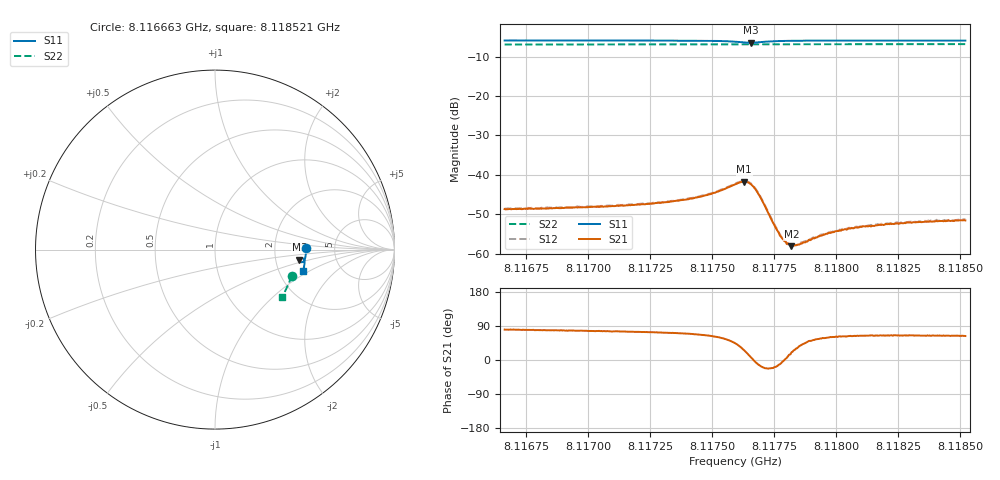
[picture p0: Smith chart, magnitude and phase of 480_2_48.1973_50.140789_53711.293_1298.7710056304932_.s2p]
#  HZ  S  RI  R  50.00
! Rohde & Schwarz Vector Network Analyzer
! Rohde-Schwarz,ZNB20-2Port,1311601062101988,3.16
! Created: UTC 3/20/2024, 11:57:37 AM
! freq[Hz]  re:S11  im:S11  re:S21  im:S21  re:S12  im:S12  re:S22  im:S22
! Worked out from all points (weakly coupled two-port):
!   401 points, 8.116663 GHz to 8.118521 GHz, reference 50 ohm
!   highest |S21| = -41.75 dB at 8.117629 GHz (marker M1); lowest = -58.1 dB at 8.117819 GHz (marker M2)
!   lowest |S11| = -6.5 dB at 8.117657 GHz (marker M3), VSWR 2.80, Z = 137 - j19.8 ohm
!   |S11| at or under -10 dB: nowhere
!   |S22| runs from -6.9 to -6.8 dB; largest |S21 - S12| = 0.00022
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8.1166628e9  0.5068 0.00962  0.000621 0.00362  0.000672 0.00367  0.4264 -0.1459
8.116974e9  0.5063 -0.0145  0.000835 0.00377  0.000907 0.00382  0.4195 -0.1666
8.1172852e9  0.5038 -0.0398  0.00131 0.00423  0.00136 0.00424  0.4116 -0.1869
8.1174524e9  0.4999 -0.0557  0.00206 0.00485  0.00216 0.00491  0.4069 -0.1979
8.1175174e9  0.496 -0.063  0.00293 0.00531  0.00305 0.00536  0.405 -0.2021
8.1175917e9  0.4841 -0.0704  0.00539 0.00528  0.00555 0.00533  0.4023 -0.2066
8.1176289e9  0.4736 -0.0663  0.00738 0.00353  0.0075 0.00354  0.4008 -0.2085
8.1176428e9  0.471 -0.0617  0.00769 0.00227  0.00791 0.00223  0.4005 -0.2092
8.1176568e9  0.4708 -0.056  0.00752 0.000808  0.00771 0.000786  0.3999 -0.2099
8.1176753e9  0.4745 -0.0497  0.00645 -0.000704  0.00658 -0.000744  0.3997 -0.2106
8.1176939e9  0.4804 -0.0467  0.00499 -0.00138  0.0051 -0.00151  0.3994 -0.2118
8.1177497e9  0.4934 -0.0518  0.0022 -0.000775  0.00224 -0.000826  0.3983 -0.2155
8.1177729e9  0.4956 -0.0552  0.00166 -0.000326  0.00173 -0.000351  0.3978 -0.217
8.1177961e9  0.4972 -0.0584  0.00141 8.38e-05  0.00143 3.77e-05  0.397 -0.2185
8.1178193e9  0.4981 -0.0616  0.00117 0.000429  0.00122 0.000414  0.3963 -0.2202
8.1178426e9  0.4986 -0.0646  0.0011 0.00067  0.00111 0.000676  0.3955 -0.2216
8.1179029e9  0.4989 -0.0711  0.000955 0.00121  0.000987 0.00123  0.3939 -0.2254
8.1179633e9  0.4987 -0.077  0.000917 0.00153  0.00094 0.00152  0.3919 -0.2292
8.1180283e9  0.4981 -0.0831  0.000929 0.00178  0.000947 0.00183  0.3896 -0.2333
8.1181027e9  0.4972 -0.0893  0.000948 0.00197  0.000987 0.002  0.387 -0.2379
8.1182141e9  0.4956 -0.0983  0.00102 0.00213  0.00104 0.00219  0.3831 -0.2448
8.1185207e9  0.4904 -0.1215  0.00118 0.00235  0.00123 0.00245  0.3719 -0.2632
